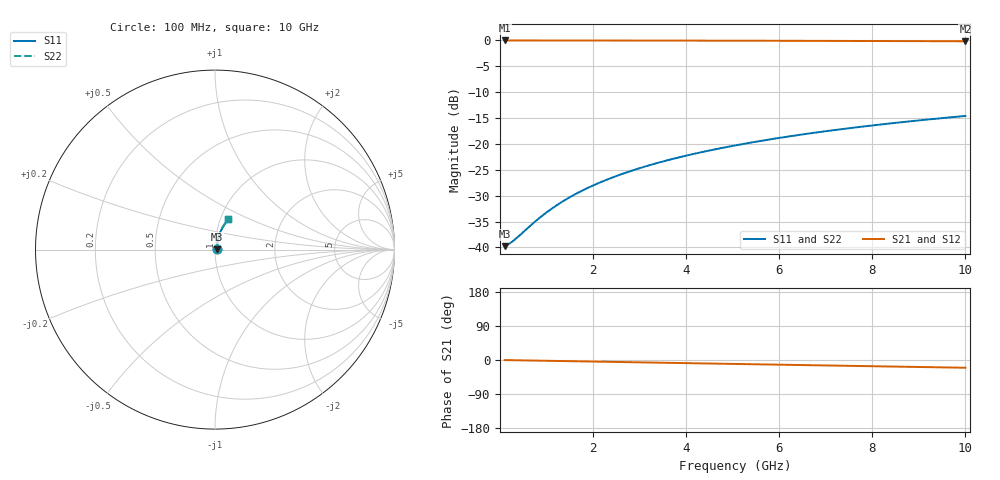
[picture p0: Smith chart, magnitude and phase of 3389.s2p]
# Hz S RI R 50.00
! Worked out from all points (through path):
!   100 points, 100 MHz to 10 GHz, reference 50 ohm
!   highest |S21| = -0.09 dB at 100 MHz (marker M1); lowest = -0.2 dB at 10 GHz (marker M2)
!   group delay of S21, straight-line fit = 5.68 ps
!   lowest |S11| = -39.7 dB at 100 MHz (marker M3), VSWR 1.02, Z = 51 + j0.191 ohm
!   |S11| at or under -10 dB: start of sweep to end of sweep
!   |S22| runs from -39.7 to -14.6 dB; largest |S21 - S12| = 0
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1e8  0.0101 0.00187  0.9899 -0.00357  0.9899 -0.00357  0.0101 0.00187
2e8  0.0102 0.00375  0.9898 -0.00713  0.9898 -0.00713  0.0102 0.00375
3e8  0.0103 0.00562  0.9897 -0.0107  0.9897 -0.0107  0.0103 0.00562
8e8  0.0108 0.015  0.9891 -0.0285  0.9891 -0.0285  0.0108 0.015
9e8  0.0109 0.0168  0.9889 -0.0321  0.9889 -0.0321  0.0109 0.0168
1.1e9  0.0113 0.0206  0.9885 -0.0392  0.9885 -0.0392  0.0113 0.0206
1.4e9  0.0118 0.0262  0.9879 -0.0499  0.9879 -0.0499  0.0118 0.0262
1.6e9  0.0123 0.0299  0.9874 -0.057  0.9874 -0.057  0.0123 0.0299
1.8e9  0.0127 0.0336  0.9868 -0.0641  0.9868 -0.0641  0.0127 0.0336
2.1e9  0.0136 0.0391  0.9858 -0.0747  0.9858 -0.0747  0.0136 0.0391
2.5e9  0.0148 0.0465  0.9842 -0.0888  0.9842 -0.0888  0.0148 0.0465
2.9e9  0.0163 0.0538  0.9824 -0.1029  0.9824 -0.1029  0.0163 0.0538
3.4e9  0.0185 0.0629  0.9798 -0.1205  0.9798 -0.1205  0.0185 0.0629
3.8e9  0.0204 0.0701  0.9774 -0.1345  0.9774 -0.1345  0.0204 0.0701
4.2e9  0.0226 0.0772  0.9748 -0.1484  0.9748 -0.1484  0.0226 0.0772
4.6e9  0.0249 0.0843  0.9719 -0.1622  0.9719 -0.1622  0.0249 0.0843
5.1e9  0.0282 0.093  0.968 -0.1794  0.968 -0.1794  0.0282 0.093
5.9e9  0.034 0.1066  0.9609 -0.2066  0.9609 -0.2066  0.034 0.1066
6.7e9  0.0405 0.1199  0.9529 -0.2335  0.9529 -0.2335  0.0405 0.1199
7.5e9  0.0477 0.1327  0.944 -0.2599  0.944 -0.2599  0.0477 0.1327
8.4e9  0.0567 0.1466  0.9329 -0.2891  0.9329 -0.2891  0.0567 0.1466
1e10  0.0747 0.1696  0.9106 -0.3394  0.9106 -0.3394  0.0747 0.1696
